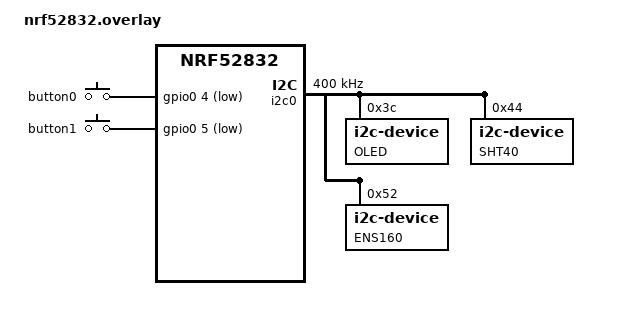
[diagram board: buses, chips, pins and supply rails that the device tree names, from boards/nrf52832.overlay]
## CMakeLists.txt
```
cmake_minimum_required(VERSION 3.20.0)
find_package(Zephyr REQUIRED HINTS $ENV{ZEPHYR_BASE})

project(ess)

target_sources(app PRIVATE src/main.c src/ens160.c src/sht40.c src/oled.c src/gui.c src/gatt.c)
```

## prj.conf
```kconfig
# Increase Main stack size
CONFIG_MAIN_STACK_SIZE=2048

# Increased stack due to settings API usage
CONFIG_SYSTEM_WORKQUEUE_STACK_SIZE=2048

# Existing configurations
CONFIG_BT=y
CONFIG_LOG=y
CONFIG_BT_SMP=y
CONFIG_BT_SIGNING=y
CONFIG_BT_PERIPHERAL=y
CONFIG_BT_DIS=y
CONFIG_BT_ATT_PREPARE_COUNT=5
CONFIG_BT_BAS=y
CONFIG_BT_HRS=y
CONFIG_BT_IAS=y
CONFIG_BT_PRIVACY=y
CONFIG_BT_DEVICE_NAME="Zephyr Peripheral"
CONFIG_BT_DEVICE_APPEARANCE=833
CONFIG_BT_DEVICE_NAME_DYNAMIC=y
CONFIG_BT_DEVICE_NAME_MAX=65

CONFIG_BT_KEYS_OVERWRITE_OLDEST=y
CONFIG_BT_SETTINGS=y
CONFIG_FLASH=y
CONFIG_FLASH_PAGE_LAYOUT=y
CONFIG_FLASH_MAP=y
CONFIG_NVS=y
CONFIG_SETTINGS=y

CONFIG_I2C=y
CONFIG_SENSOR=y
CONFIG_CBPRINTF_FP_SUPPORT=y

CONFIG_PM_DEVICE_RUNTIME=y
```

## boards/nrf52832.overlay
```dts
&pinctrl {
    i2c0_default: i2c0_default {
            group1 {
                    psels = <NRF_PSEL(TWIM_SDA, 0, 11)>,
                            <NRF_PSEL(TWIM_SCL, 0, 12)>;
            };
    };

    i2c0_sleep: i2c0_sleep {
            group1 {
                    psels = <NRF_PSEL(TWIM_SDA, 0, 11)>,
                            <NRF_PSEL(TWIM_SCL, 0, 12)>;
                    low-power-enable;
            };
    };
};

&i2c0 {
    oled: oled@3C{
        compatible = "i2c-device";
        reg = <0x3c>;
        label = "OLED";
        status = "okay";
    };
    sht40: sht40@44{
        compatible = "i2c-device";
        reg = <0x44>;
        label = "SHT40";
        status = "okay";
    };
    ens160: ens160@52{
        compatible = "i2c-device";
        reg = <0x52>;
        label = "ENS160";
        status = "okay";
    };

    clock-frequency = <I2C_BITRATE_FAST>;
};

&button0 {
    gpios = <&gpio0 4 (GPIO_ACTIVE_LOW | GPIO_PULL_UP)>;
};

&button1 {
    gpios = <&gpio0 5 (GPIO_ACTIVE_LOW | GPIO_PULL_UP)>;
};


&uart0_default {
    group1 {
        psels = <NRF_PSEL(UART_TX, 0, 6)>,
                <NRF_PSEL(UART_RX, 0, 8)>,
                <NRF_PSEL(UART_RTS, 0, 1)>,
                <NRF_PSEL(UART_CTS, 0, 7)>;
    };
};
```

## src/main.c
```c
#include <zephyr/kernel.h>
#include <zephyr/device.h>
#include <zephyr/devicetree.h>
#include <zephyr/sys/printk.h>

#include <zephyr/types.h>
#include <stddef.h>
#include <string.h>
#include <errno.h>
#include <stdio.h>
#include <zephyr/sys/printk.h>
#include <zephyr/sys/byteorder.h>

#include <zephyr/settings/settings.h>

#include <zephyr/bluetooth/bluetooth.h>
#include <zephyr/bluetooth/hci.h>
#include <zephyr/bluetooth/conn.h>
#include <zephyr/bluetooth/uuid.h>
#include <zephyr/bluetooth/gatt.h>

#include "sht40.h"
#include "ens160.h"
#include "oled.h"
#include "gui.h"

#define SLEEP_TIME_MS 100
#define STACKSIZE 2048
#define PRIORITY 7
#define PRIORITY_ens160 6

static const struct bt_data ad[] = {
	BT_DATA_BYTES(BT_DATA_FLAGS, (BT_LE_AD_GENERAL | BT_LE_AD_NO_BREDR)),
	BT_DATA_BYTES(BT_DATA_UUID16_ALL, BT_UUID_16_ENCODE(BT_UUID_ESS_VAL)),
};

static void connected(struct bt_conn *conn, uint8_t err)
{
	if (err) {
		printk("Connection failed (err 0x%02x)\n", err);
	} else {
		printk("Connected\n");
	}
}

static void disconnected(struct bt_conn *conn, uint8_t reason)
{
	printk("Disconnected (reason 0x%02x)\n", reason);
}

BT_CONN_CB_DEFINE(conn_callbacks) = {
	.connected = connected,
	.disconnected = disconnected,
};

static void bt_ready(void)
{
	int err;

	printk("Bluetooth initialized\n");

	if (IS_ENABLED(CONFIG_SETTINGS)) {
		settings_load();
	}

	err = bt_le_adv_start(BT_LE_ADV_CONN_NAME, ad, ARRAY_SIZE(ad), NULL, 0);
	if (err) {
		printk("Advertising failed to start (err %d)\n", err);
		return;
	}

	printk("Advertising successfully started\n");
}

static void auth_cancel(struct bt_conn *conn)
{
	char addr[BT_ADDR_LE_STR_LEN];

	bt_addr_le_to_str(bt_conn_get_dst(conn), addr, sizeof(addr));

	printk("Pairing cancelled: %s\n", addr);
}

static struct bt_conn_auth_cb auth_cb_display = {
	.cancel = auth_cancel,
};

void gui_thread(void)
{
	while (1)
	{
		polling_button();
		k_sleep(K_MSEC(SLEEP_TIME_MS));
	}
	
}

int main(void)
{
    int err;

	sht40_init();
	ens160_init();
	button_init();
	OLED_Init();
	OLED_Clear();
	OLED_ColorTurn(0);
    OLED_DisplayTurn(0);
	OLED_ShowString(0,0,"Temper:",8,1);
	OLED_ShowString(52,14,"*C",8,1);
		
	OLED_ShowString(0,26,"Humidity:",8,1);
	OLED_ShowString(55,40,"%",8,1);
	OLED_Refresh();

	err = bt_enable(NULL);
	if (err) {
		printk("Bluetooth init failed (err %d)\n", err);
		return 0;
	}
	bt_ready();
	bt_conn_auth_cb_register(&auth_cb_display);

	return 0;
}

K_THREAD_DEFINE(gui_thread_id, STACKSIZE, gui_thread, NULL, NULL, NULL, PRIORITY, 0, 0);
```

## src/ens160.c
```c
#include "ens160.h"

// ADDR
uint8_t OPMODE_ADDR = 0x10;
uint8_t AIRQ_Index  = 0x21;
uint8_t TVOC_DATA   = 0x22;
uint8_t ECO2_DATA   = 0x24;
// CMD
uint8_t  IDLE_MODE = 0x01;
uint8_t  STANDARD_MODE = 0x02;
uint8_t  DSLEEP_MODE = 0x00;
uint8_t  ENS160_RESET = 0xF0;

#define co2         0
#define tvoc        1
#define airq_index  2

uint8_t str1[50];

#define I2C0_NODE DT_NODELABEL(ens160)
static const struct i2c_dt_spec dev_i2c = I2C_DT_SPEC_GET(I2C0_NODE);

void ens160_init(void)
{
    int ret;
    uint8_t cmd[2] = {OPMODE_ADDR, STANDARD_MODE};   
    if (!device_is_ready(dev_i2c.bus))
    {
        printk("I2C bus %s is not ready!\n\r", dev_i2c.bus->name);
        return;
    }
    
    ret = i2c_write_dt(&dev_i2c, cmd, sizeof(cmd)); 
    if (ret != 0) {
        printk("Failed to set ENS160 to standard mode at address %x\n\r", dev_i2c.addr);
        return;
    }
}

uint16_t ens160_read_data(uint8_t p_type)
{
    uint8_t rawData[2];
    uint16_t result;
    int ret;

    switch (p_type) {
        case 0: i2c_write_dt(&dev_i2c, &ECO2_DATA, sizeof(ECO2_DATA)); break;
        case 1: i2c_write_dt(&dev_i2c, &TVOC_DATA, sizeof(TVOC_DATA)); break;
        case 2: i2c_write_dt(&dev_i2c, &AIRQ_Index, sizeof(AIRQ_Index)); break;
    }

    ret = i2c_read_dt(&dev_i2c, rawData, sizeof(rawData));
    if (ret != 0) {
        printk("Failed to read from I2C device for air index\n");
        return -1;
    }

    result = ((rawData[1] << 8) | rawData[0]);
    return result;
}

void ens160_result(void)
{
    int16_t eco2 = ens160_read_data(co2);
    int16_t tvoc_1 = ens160_read_data(tvoc);
    int16_t tvoc_2 = ens160_read_data(tvoc);
    uint8_t air_q_index = ens160_read_data(airq_index);

    if (tvoc_2 - tvoc_1 < 0)
    {
        OLED_Clear();
        sprintf((char*)str1, "%2d", tvoc_2);
        OLED_ShowString(0, 40, (uint8_t *)str1, 8, 1);
    }
    else
    {
        sprintf((char*)str1, "%3d", tvoc_1);
        OLED_ShowString(0, 40, (uint8_t *)str1, 8, 1);
    }

    sprintf((char*)str1, "%3d", eco2);
    OLED_ShowString(0, 14, (uint8_t *)str1, 8, 1);

    sprintf((char*)str1, "%d", air_q_index);
    OLED_ShowString(55, 40, (uint8_t *)str1, 8, 1);

    OLED_Refresh();
}
```

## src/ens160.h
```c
#ifndef __ENS160_H_
#define __ENS160_H_

#include <zephyr/kernel.h>
#include <zephyr/device.h>
#include <zephyr/devicetree.h>
#include <zephyr/drivers/i2c.h>
#include <zephyr/sys/printk.h>
#include <zephyr/sys/byteorder.h>
#include <zephyr/types.h>

#include <stdint.h>
#include <stdio.h>
#include <stddef.h>
#include <string.h>
#include <errno.h>
#include "stdlib.h"	
#include <stdbool.h>   

#include "oled.h"

void ens160_init(void);
uint16_t ens160_read_data(uint8_t p_type);
void ens160_result(void);

#endif
```

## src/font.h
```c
#ifndef __FONT_H_
#define __FONT_H_

const unsigned char asc2_0806[][6] =
{
{0x00, 0x00, 0x00, 0x00, 0x00, 0x00},// sp
{0x00, 0x00, 0x00, 0x2f, 0x00, 0x00},// !
{0x00, 0x00, 0x07, 0x00, 0x07, 0x00},// "
{0x00, 0x14, 0x7f, 0x14, 0x7f, 0x14},// #
{0x00, 0x24, 0x2a, 0x7f, 0x2a, 0x12},// $
{0x00, 0x62, 0x64, 0x08, 0x13, 0x23},// %
{0x00, 0x36, 0x49, 0x55, 0x22, 0x50},// &
{0x00, 0x00, 0x05, 0x03, 0x00, 0x00},// '
{0x00, 0x00, 0x1c, 0x22, 0x41, 0x00},// (
{0x00, 0x00, 0x41, 0x22, 0x1c, 0x00},// )
{0x00, 0x14, 0x08, 0x3E, 0x08, 0x14},// *
{0x00, 0x08, 0x08, 0x3E, 0x08, 0x08},// +
{0x00, 0x00, 0x00, 0xA0, 0x60, 0x00},// ,
{0x00, 0x08, 0x08, 0x08, 0x08, 0x08},// -
{0x00, 0x00, 0x60, 0x60, 0x00, 0x00},// .
{0x00, 0x20, 0x10, 0x08, 0x04, 0x02},// /
{0x00, 0x3E, 0x51, 0x49, 0x45, 0x3E},// 0
{0x00, 0x00, 0x42, 0x7F, 0x40, 0x00},// 1
{0x00, 0x42, 0x61, 0x51, 0x49, 0x46},// 2
{0x00, 0x21, 0x41, 0x45, 0x4B, 0x31},// 3
{0x00, 0x18, 0x14, 0x12, 0x7F, 0x10},// 4
{0x00, 0x27, 0x45, 0x45, 0x45, 0x39},// 5
{0x00, 0x3C, 0x4A, 0x49, 0x49, 0x30},// 6
{0x00, 0x01, 0x71, 0x09, 0x05, 0x03},// 7
{0x00, 0x36, 0x49, 0x49, 0x49, 0x36},// 8
{0x00, 0x06, 0x49, 0x49, 0x29, 0x1E},// 9
{0x00, 0x00, 0x36, 0x36, 0x00, 0x00},// :
{0x00, 0x00, 0x56, 0x36, 0x00, 0x00},// ;
{0x00, 0x08, 0x14, 0x22, 0x41, 0x00},// <
{0x00, 0x14, 0x14, 0x14, 0x14, 0x14},// =
{0x00, 0x00, 0x41, 0x22, 0x14, 0x08},// >
{0x00, 0x02, 0x01, 0x51, 0x09, 0x06},// ?
{0x00, 0x32, 0x49, 0x59, 0x51, 0x3E},// @
{0x00, 0x7C, 0x12, 0x11, 0x12, 0x7C},// A
{0x00, 0x7F, 0x49, 0x49, 0x49, 0x36},// B
{0x00, 0x3E, 0x41, 0x41, 0x41, 0x22},// C
{0x00, 0x7F, 0x41, 0x41, 0x22, 0x1C},// D
{0x00, 0x7F, 0x49, 0x49, 0x49, 0x41},// E
{0x00, 0x7F, 0x09, 0x09, 0x09, 0x01},// F
{0x00, 0x3E, 0x41, 0x49, 0x49, 0x7A},// G
{0x00, 0x7F, 0x08, 0x08, 0x08, 0x7F},// H
{0x00, 0x00, 0x41, 0x7F, 0x41, 0x00},// I
{0x00, 0x20, 0x40, 0x41, 0x3F, 0x01},// J
{0x00, 0x7F, 0x08, 0x14, 0x22, 0x41},// K
{0x00, 0x7F, 0x40, 0x40, 0x40, 0x40},// L
{0x00, 0x7F, 0x02, 0x0C, 0x02, 0x7F},// M
{0x00, 0x7F, 0x04, 0x08, 0x10, 0x7F},// N
{0x00, 0x3E, 0x41, 0x41, 0x41, 0x3E},// O
{0x00, 0x7F, 0x09, 0x09, 0x09, 0x06},// P
{0x00, 0x3E, 0x41, 0x51, 0x21, 0x5E},// Q
{0x00, 0x7F, 0x09, 0x19, 0x29, 0x46},// R
{0x00, 0x46, 0x49, 0x49, 0x49, 0x31},// S
{0x00, 0x01, 0x01, 0x7F, 0x01, 0x01},// T
{0x00, 0x3F, 0x40, 0x40, 0x40, 0x3F},// U
{0x00, 0x1F, 0x20, 0x40, 0x20, 0x1F},// V
{0x00, 0x3F, 0x40, 0x38, 0x40, 0x3F},// W
{0x00, 0x63, 0x14, 0x08, 0x14, 0x63},// X
{0x00, 0x07, 0x08, 0x70, 0x08, 0x07},// Y
{0x00, 0x61, 0x51, 0x49, 0x45, 0x43},// Z
{0x00, 0x00, 0x7F, 0x41, 0x41, 0x00},// [
{0x00, 0x55, 0x2A, 0x55, 0x2A, 0x55},// 55
{0x00, 0x00, 0x41, 0x41, 0x7F, 0x00},// ]
{0x00, 0x04, 0x02, 0x01, 0x02, 0x04},// ^
{0x00, 0x40, 0x40, 0x40, 0x40, 0x40},// _
{0x00, 0x00, 0x01, 0x02, 0x04, 0x00},// '
{0x00, 0x20, 0x54, 0x54, 0x54, 0x78},// a
{0x00, 0x7F, 0x48, 0x44, 0x44, 0x38},// b
{0x00, 0x38, 0x44, 0x44, 0x44, 0x20},// c
{0x00, 0x38, 0x44, 0x44, 0x48, 0x7F},// d
{0x00, 0x38, 0x54, 0x54, 0x54, 0x18},// e
{0x00, 0x08, 0x7E, 0x09, 0x01, 0x02},// f
{0x00, 0x18, 0xA4, 0xA4, 0xA4, 0x7C},// g
{0x00, 0x7F, 0x08, 0x04, 0x04, 0x78},// h
{0x00, 0x00, 0x44, 0x7D, 0x40, 0x00},// i
{0x00, 0x40, 0x80, 0x84, 0x7D, 0x00},// j
{0x00, 0x7F, 0x10, 0x28, 0x44, 0x00},// k
{0x00, 0x00, 0x41, 0x7F, 0x40, 0x00},// l
{0x00, 0x7C, 0x04, 0x18, 0x04, 0x78},// m
{0x00, 0x7C, 0x08, 0x04, 0x04, 0x78},// n
{0x00, 0x38, 0x44, 0x44, 0x44, 0x38},// o
{0x00, 0xFC, 0x24, 0x24, 0x24, 0x18},// p
{0x00, 0x18, 0x24, 0x24, 0x18, 0xFC},// q
{0x00, 0x7C, 0x08, 0x04, 0x04, 0x08},// r
{0x00, 0x48, 0x54, 0x54, 0x54, 0x20},// s
{0x00, 0x04, 0x3F, 0x44, 0x40, 0x20},// t
{0x00, 0x3C, 0x40, 0x40, 0x20, 0x7C},// u
{0x00, 0x1C, 0x20, 0x40, 0x20, 0x1C},// v
{0x00, 0x3C, 0x40, 0x30, 0x40, 0x3C},// w
{0x00, 0x44, 0x28, 0x10, 0x28, 0x44},// x
{0x00, 0x1C, 0xA0, 0xA0, 0xA0, 0x7C},// y
{0x00, 0x44, 0x64, 0x54, 0x4C, 0x44},// z
{0x14, 0x14, 0x14, 0x14, 0x14, 0x14},// horiz lines
};
//12*12 ASCII
const unsigned char asc2_1206[95][12]={
{0x00,0x00,0x00,0x00,0x00,0x00,0x00,0x00,0x00,0x00,0x00,0x00},/*" ",0*/
{0x00,0x00,0xFC,0x00,0x00,0x00,0x00,0x00,0x02,0x00,0x00,0x00},/*"!",1*/
{0x00,0x0C,0x02,0x0C,0x02,0x00,0x00,0x00,0x00,0x00,0x00,0x00},/*""",2*/
{0x90,0xD0,0xBC,0xD0,0xBC,0x90,0x00,0x03,0x00,0x03,0x00,0x00},/*"#",3*/
{0x18,0x24,0xFE,0x44,0x8C,0x00,0x03,0x02,0x07,0x02,0x01,0x00},/*"$",4*/
{0x18,0x24,0xD8,0xB0,0x4C,0x80,0x00,0x03,0x00,0x01,0x02,0x01},/*"%",5*/
{0xC0,0x38,0xE4,0x38,0xE0,0x00,0x01,0x02,0x02,0x01,0x02,0x02},/*"&",6*/
{0x08,0x06,0x00,0x00,0x00,0x00,0x00,0x00,0x00,0x00,0x00,0x00},/*"'",7*/
{0x00,0x00,0x00,0xF8,0x04,0x02,0x00,0x00,0x00,0x01,0x02,0x04},/*"(",8*/
{0x00,0x02,0x04,0xF8,0x00,0x00,0x00,0x04,0x02,0x01,0x00,0x00},/*")",9*/
{0x90,0x60,0xF8,0x60,0x90,0x00,0x00,0x00,0x01,0x00,0x00,0x00},/*"*",10*/
{0x20,0x20,0xFC,0x20,0x20,0x00,0x00,0x00,0x01,0x00,0x00,0x00},/*"+",11*/
{0x00,0x00,0x00,0x00,0x00,0x00,0x08,0x06,0x00,0x00,0x00,0x00},/*",",12*/
{0x20,0x20,0x20,0x20,0x20,0x00,0x00,0x00,0x00,0x00,0x00,0x00},/*"-",13*/
{0x00,0x00,0x00,0x00,0x00,0x00,0x00,0x02,0x00,0x00,0x00,0x00},/*".",14*/
{0x00,0x80,0x60,0x1C,0x02,0x00,0x04,0x03,0x00,0x00,0x00,0x00},/*"/",15*/
{0xF8,0x04,0x04,0x04,0xF8,0x00,0x01,0x02,0x02,0x02,0x01,0x00},/*"0",16*/
{0x00,0x08,0xFC,0x00,0x00,0x00,0x00,0x02,0x03,0x02,0x00,0x00},/*"1",17*/
{0x18,0x84,0x44,0x24,0x18,0x00,0x03,0x02,0x02,0x02,0x02,0x00},/*"2",18*/
{0x08,0x04,0x24,0x24,0xD8,0x00,0x01,0x02,0x02,0x02,0x01,0x00},/*"3",19*/
{0x40,0xB0,0x88,0xFC,0x80,0x00,0x00,0x00,0x00,0x03,0x02,0x00},/*"4",20*/
{0x3C,0x24,0x24,0x24,0xC4,0x00,0x01,0x02,0x02,0x02,0x01,0x00},/*"5",21*/
{0xF8,0x24,0x24,0x2C,0xC0,0x00,0x01,0x02,0x02,0x02,0x01,0x00},/*"6",22*/
{0x0C,0x04,0xE4,0x1C,0x04,0x00,0x00,0x00,0x03,0x00,0x00,0x00},/*"7",23*/
{0xD8,0x24,0x24,0x24,0xD8,0x00,0x01,0x02,0x02,0x02,0x01,0x00},/*"8",24*/
{0x38,0x44,0x44,0x44,0xF8,0x00,0x00,0x03,0x02,0x02,0x01,0x00},/*"9",25*/
{0x00,0x00,0x10,0x00,0x00,0x00,0x00,0x00,0x02,0x00,0x00,0x00},/*":",26*/
{0x00,0x00,0x20,0x00,0x00,0x00,0x00,0x00,0x06,0x00,0x00,0x00},/*";",27*/
{0x00,0x20,0x50,0x88,0x04,0x02,0x00,0x00,0x00,0x00,0x01,0x02},/*"<",28*/
{0x90,0x90,0x90,0x90,0x90,0x00,0x00,0x00,0x00,0x00,0x00,0x00},/*"=",29*/
{0x00,0x02,0x04,0x88,0x50,0x20,0x00,0x02,0x01,0x00,0x00,0x00},/*">",30*/
{0x18,0x04,0xC4,0x24,0x18,0x00,0x00,0x00,0x02,0x00,0x00,0x00},/*"?",31*/
{0xF8,0x04,0xE4,0x94,0xF8,0x00,0x01,0x02,0x02,0x02,0x02,0x00},/*"@",32*/
{0x00,0xE0,0x9C,0xF0,0x80,0x00,0x02,0x03,0x00,0x00,0x03,0x02},/*"A",33*/
{0x04,0xFC,0x24,0x24,0xD8,0x00,0x02,0x03,0x02,0x02,0x01,0x00},/*"B",34*/
{0xF8,0x04,0x04,0x04,0x0C,0x00,0x01,0x02,0x02,0x02,0x01,0x00},/*"C",35*/
{0x04,0xFC,0x04,0x04,0xF8,0x00,0x02,0x03,0x02,0x02,0x01,0x00},/*"D",36*/
{0x04,0xFC,0x24,0x74,0x0C,0x00,0x02,0x03,0x02,0x02,0x03,0x00},/*"E",37*/
{0x04,0xFC,0x24,0x74,0x0C,0x00,0x02,0x03,0x02,0x00,0x00,0x00},/*"F",38*/
{0xF0,0x08,0x04,0x44,0xCC,0x40,0x00,0x01,0x02,0x02,0x01,0x00},/*"G",39*/
{0x04,0xFC,0x20,0x20,0xFC,0x04,0x02,0x03,0x00,0x00,0x03,0x02},/*"H",40*/
{0x04,0x04,0xFC,0x04,0x04,0x00,0x02,0x02,0x03,0x02,0x02,0x00},/*"I",41*/
{0x00,0x04,0x04,0xFC,0x04,0x04,0x06,0x04,0x04,0x03,0x00,0x00},/*"J",42*/
{0x04,0xFC,0x24,0xD0,0x0C,0x04,0x02,0x03,0x02,0x00,0x03,0x02},/*"K",43*/
{0x04,0xFC,0x04,0x00,0x00,0x00,0x02,0x03,0x02,0x02,0x02,0x03},/*"L",44*/
{0xFC,0x3C,0xC0,0x3C,0xFC,0x00,0x03,0x00,0x03,0x00,0x03,0x00},/*"M",45*/
{0x04,0xFC,0x30,0xC4,0xFC,0x04,0x02,0x03,0x02,0x00,0x03,0x00},/*"N",46*/
{0xF8,0x04,0x04,0x04,0xF8,0x00,0x01,0x02,0x02,0x02,0x01,0x00},/*"O",47*/
{0x04,0xFC,0x24,0x24,0x18,0x00,0x02,0x03,0x02,0x00,0x00,0x00},/*"P",48*/
{0xF8,0x84,0x84,0x04,0xF8,0x00,0x01,0x02,0x02,0x07,0x05,0x00},/*"Q",49*/
{0x04,0xFC,0x24,0x64,0x98,0x00,0x02,0x03,0x02,0x00,0x03,0x02},/*"R",50*/
{0x18,0x24,0x24,0x44,0x8C,0x00,0x03,0x02,0x02,0x02,0x01,0x00},/*"S",51*/
{0x0C,0x04,0xFC,0x04,0x0C,0x00,0x00,0x02,0x03,0x02,0x00,0x00},/*"T",52*/
{0x04,0xFC,0x00,0x00,0xFC,0x04,0x00,0x01,0x02,0x02,0x01,0x00},/*"U",53*/
{0x04,0x7C,0x80,0xE0,0x1C,0x04,0x00,0x00,0x03,0x00,0x00,0x00},/*"V",54*/
{0x1C,0xE0,0x3C,0xE0,0x1C,0x00,0x00,0x03,0x00,0x03,0x00,0x00},/*"W",55*/
{0x04,0x9C,0x60,0x9C,0x04,0x00,0x02,0x03,0x00,0x03,0x02,0x00},/*"X",56*/
{0x04,0x1C,0xE0,0x1C,0x04,0x00,0x00,0x02,0x03,0x02,0x00,0x00},/*"Y",57*/
{0x0C,0x84,0x64,0x1C,0x04,0x00,0x02,0x03,0x02,0x02,0x03,0x00},/*"Z",58*/
{0x00,0x00,0xFE,0x02,0x02,0x00,0x00,0x00,0x07,0x04,0x04,0x00},/*"[",59*/
{0x00,0x0E,0x30,0xC0,0x00,0x00,0x00,0x00,0x00,0x01,0x02,0x00},/*"\",60*/
{0x00,0x02,0x02,0xFE,0x00,0x00,0x00,0x04,0x04,0x07,0x00,0x00},/*"]",61*/
{0x00,0x04,0x02,0x04,0x00,0x00,0x00,0x00,0x00,0x00,0x00,0x00},/*"^",62*/
{0x00,0x00,0x00,0x00,0x00,0x00,0x08,0x08,0x08,0x08,0x08,0x08},/*"_",63*/
{0x00,0x00,0x02,0x00,0x00,0x00,0x00,0x00,0x00,0x00,0x00,0x00},/*"`",64*/
{0x00,0x40,0xA0,0xA0,0xC0,0x00,0x00,0x01,0x02,0x02,0x03,0x02},/*"a",65*/
{0x04,0xFC,0x20,0x20,0xC0,0x00,0x00,0x03,0x02,0x02,0x01,0x00},/*"b",66*/
{0x00,0xC0,0x20,0x20,0x60,0x00,0x00,0x01,0x02,0x02,0x02,0x00},/*"c",67*/
{0x00,0xC0,0x20,0x24,0xFC,0x00,0x00,0x01,0x02,0x02,0x03,0x02},/*"d",68*/
{0x00,0xC0,0xA0,0xA0,0xC0,0x00,0x00,0x01,0x02,0x02,0x02,0x00},/*"e",69*/
{0x00,0x20,0xF8,0x24,0x24,0x04,0x00,0x02,0x03,0x02,0x02,0x00},/*"f",70*/
{0x00,0x40,0xA0,0xA0,0x60,0x20,0x00,0x07,0x0A,0x0A,0x0A,0x04},/*"g",71*/
{0x04,0xFC,0x20,0x20,0xC0,0x00,0x02,0x03,0x02,0x00,0x03,0x02},/*"h",72*/
{0x00,0x20,0xE4,0x00,0x00,0x00,0x00,0x02,0x03,0x02,0x00,0x00},/*"i",73*/
{0x00,0x00,0x20,0xE4,0x00,0x00,0x08,0x08,0x08,0x07,0x00,0x00},/*"j",74*/
{0x04,0xFC,0x80,0xE0,0x20,0x20,0x02,0x03,0x02,0x00,0x03,0x02},/*"k",75*/
{0x04,0x04,0xFC,0x00,0x00,0x00,0x02,0x02,0x03,0x02,0x02,0x00},/*"l",76*/
{0xE0,0x20,0xE0,0x20,0xC0,0x00,0x03,0x00,0x03,0x00,0x03,0x00},/*"m",77*/
{0x20,0xE0,0x20,0x20,0xC0,0x00,0x02,0x03,0x02,0x00,0x03,0x02},/*"n",78*/
{0x00,0xC0,0x20,0x20,0xC0,0x00,0x00,0x01,0x02,0x02,0x01,0x00},/*"o",79*/
{0x20,0xE0,0x20,0x20,0xC0,0x00,0x08,0x0F,0x0A,0x02,0x01,0x00},/*"p",80*/
{0x00,0xC0,0x20,0x20,0xE0,0x00,0x00,0x01,0x02,0x0A,0x0F,0x08},/*"q",81*/
{0x20,0xE0,0x40,0x20,0x20,0x00,0x02,0x03,0x02,0x00,0x00,0x00},/*"r",82*/
{0x00,0x60,0xA0,0xA0,0x20,0x00,0x00,0x02,0x02,0x02,0x03,0x00},/*"s",83*/
{0x00,0x20,0xF8,0x20,0x00,0x00,0x00,0x00,0x01,0x02,0x02,0x00},/*"t",84*/
{0x20,0xE0,0x00,0x20,0xE0,0x00,0x00,0x01,0x02,0x02,0x03,0x02},/*"u",85*/
{0x20,0xE0,0x20,0x80,0x60,0x20,0x00,0x00,0x03,0x01,0x00,0x00},/*"v",86*/
{0x60,0x80,0xE0,0x80,0x60,0x00,0x00,0x03,0x00,0x03,0x00,0x00},/*"w",87*/
{0x20,0x60,0x80,0x60,0x20,0x00,0x02,0x03,0x00,0x03,0x02,0x00},/*"x",88*/
{0x20,0xE0,0x20,0x80,0x60,0x20,0x08,0x08,0x07,0x01,0x00,0x00},/*"y",89*/
{0x00,0x20,0xA0,0x60,0x20,0x00,0x00,0x02,0x03,0x02,0x02,0x00},/*"z",90*/
{0x00,0x00,0x20,0xDE,0x02,0x00,0x00,0x00,0x00,0x07,0x04,0x00},/*"{",91*/
{0x00,0x00,0x00,0xFF,0x00,0x00,0x00,0x00,0x00,0x0F,0x00,0x00},/*"|",92*/
{0x00,0x02,0xDE,0x20,0x00,0x00,0x00,0x04,0x07,0x00,0x00,0x00},/*"}",93*/
{0x02,0x01,0x02,0x04,0x04,0x02,0x00,0x00,0x00,0x00,0x00,0x00},/*"~",94*/
};  

#endif
```

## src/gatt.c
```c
#include "gatt.h"

#define co2         0
#define tvoc        1
#define airq_index  2

static struct bt_uuid_128 uuid_tvoc = BT_UUID_INIT_128(
    BT_UUID_128_ENCODE(0xbef93f88, 0xa801, 0x405b, 0xbc21, 0xc42d39885535));

static struct bt_uuid_128 uuid_airq_index = BT_UUID_INIT_128(
    BT_UUID_128_ENCODE(0xcb11e4df, 0x70d3, 0x4f4d, 0xb5ad, 0x6670a723a3a0));

static struct bt_uuid_128 uuid_co2 = BT_UUID_INIT_128(
    BT_UUID_128_ENCODE(0x1519693d, 0xbb8f, 0x4504, 0xaff1, 0xfe9eccf6f03f));

// Client Characteristic Configuration Notification
static bool ess_notify;
static void ess_ccc_cfg_changed(const struct bt_gatt_attr *attr, uint16_t value)
{
    ess_notify = (value == BT_GATT_CCC_NOTIFY);
}

BT_GATT_SERVICE_DEFINE(ess_svc,
                       BT_GATT_PRIMARY_SERVICE(BT_UUID_ESS),

                       // Temperture
                       BT_GATT_CHARACTERISTIC(BT_UUID_TEMPERATURE, BT_GATT_CHRC_NOTIFY,
                                              BT_GATT_PERM_NONE, NULL, NULL, NULL),
                       BT_GATT_CCC(ess_ccc_cfg_changed,
                                   BT_GATT_PERM_READ | BT_GATT_PERM_WRITE),

                       // Humidity
                       BT_GATT_CHARACTERISTIC(BT_UUID_HUMIDITY, BT_GATT_CHRC_NOTIFY,
                                              BT_GATT_PERM_NONE, NULL, NULL, NULL),
                       BT_GATT_CCC(ess_ccc_cfg_changed,
                                   BT_GATT_PERM_READ | BT_GATT_PERM_WRITE),

                       // CO2
                       BT_GATT_CHARACTERISTIC(&uuid_co2.uuid, BT_GATT_CHRC_NOTIFY,
                                              BT_GATT_PERM_NONE, NULL, NULL, NULL),
                       BT_GATT_CCC(ess_ccc_cfg_changed,
                                   BT_GATT_PERM_READ | BT_GATT_PERM_WRITE),

                       // TVOC
                       BT_GATT_CHARACTERISTIC(&uuid_tvoc.uuid, BT_GATT_CHRC_NOTIFY,
                                              BT_GATT_PERM_NONE, NULL, NULL, NULL),
                       BT_GATT_CCC(ess_ccc_cfg_changed,
                                   BT_GATT_PERM_READ | BT_GATT_PERM_WRITE),

                       // AQI
                       BT_GATT_CHARACTERISTIC(&uuid_airq_index.uuid, BT_GATT_CHRC_NOTIFY,
                                              BT_GATT_PERM_NONE, NULL, NULL, NULL),
                       BT_GATT_CCC(ess_ccc_cfg_changed,
                                   BT_GATT_PERM_READ | BT_GATT_PERM_WRITE), );

void sensors_data_update(void)
{
    if (!ess_notify)
        return;

    int16_t eco2 = ens160_read_data(co2);
    int16_t tvoc_data = ens160_read_data(tvoc);
    uint8_t air_q_index = ens160_read_data(airq_index);
    float Temperature = calculate_temperature();
    float Humidity = calculate_humidity();

    // Ensure the environmental conditions are within the expected range before notifying.
    if ((Temperature >= -20) && (Temperature <= 125) && (Humidity >= 0) && (Humidity <= 100)) {
        int intTemp = (int)(Temperature * 100);
        int intHumidity = (int)(Humidity * 100);

        uint16_t val = sys_cpu_to_le16(intTemp);
        // Notify for temperature. The attribute index for temperature characteristic is [2].
        bt_gatt_notify(NULL, &ess_svc.attrs[2], &val, sizeof(val));
        
        val = sys_cpu_to_le16(intHumidity);
        // Notify for humidity. The attribute index for humidity characteristic is [4].
        bt_gatt_notify(NULL, &ess_svc.attrs[4], &val, sizeof(val));
    }

    uint16_t val_co2 = sys_cpu_to_le16(eco2);
    // Notify for CO2. The attribute index for CO2 characteristic is [6].
    bt_gatt_notify(NULL, &ess_svc.attrs[6], &val_co2, sizeof(val_co2));

    uint16_t val_tvoc = sys_cpu_to_le16(tvoc_data);
    // Notify for TVOC. The attribute index for TVOC characteristic is [8].
    bt_gatt_notify(NULL, &ess_svc.attrs[8], &val_tvoc, sizeof(val_tvoc));

    uint16_t val_airq = sys_cpu_to_le16(air_q_index);
    // Notify for Air Quality Index. The attribute index for Air Quality Index characteristic is [10].
    bt_gatt_notify(NULL, &ess_svc.attrs[10], &val_airq, sizeof(val_airq));
}
```

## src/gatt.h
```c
#ifndef __GATT_H_
#define __GATT_H_

#include <zephyr/kernel.h>
#include <zephyr/device.h>
#include <zephyr/devicetree.h>
#include <zephyr/drivers/i2c.h>
#include <zephyr/sys/printk.h>
#include <zephyr/sys/byteorder.h>
#include <zephyr/types.h>
#include <zephyr/drivers/sensor.h>

#include <stdint.h>
#include <stdio.h>
#include <stddef.h>
#include <string.h>
#include <errno.h>

#include <zephyr/bluetooth/bluetooth.h>
#include <zephyr/bluetooth/hci.h>
#include <zephyr/bluetooth/conn.h>
#include <zephyr/bluetooth/uuid.h>
#include <zephyr/bluetooth/gatt.h>

#include "ens160.h"
#include "sht40.h"

void sensors_data_update(void);

#endif
```

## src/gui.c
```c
#include "gui.h"
#include "sht40.h"
#include "ens160.h"
#include "oled.h"
#include "gatt.h"

#define SLEEP_TIME_MS 100
#define SW0_NODE DT_ALIAS(sw0)
#define SW1_NODE DT_ALIAS(sw1)

bool button0_pressed = false;
bool button1_pressed = false;
bool sht40_flag = true;
bool ens160_flag = false;

static const struct gpio_dt_spec button_0 = GPIO_DT_SPEC_GET(SW0_NODE, gpios);
static const struct gpio_dt_spec button_1 = GPIO_DT_SPEC_GET(SW1_NODE, gpios);

void button_init(void)
{
    int ret;
    if (!device_is_ready(button_0.port))
    {
        return;
    }

    if (!device_is_ready(button_1.port))
    {
        return;
    }

    ret = gpio_pin_configure_dt(&button_0, GPIO_INPUT);
    if (ret < 0)
    {
        return;
    }
    
    ret = gpio_pin_configure_dt(&button_1, GPIO_INPUT);
    if (ret < 0)
    {
        return;
    }
}

void polling_button(void)
{

    bool current_button0_state = gpio_pin_get_dt(&button_0);
    bool current_button1_state = gpio_pin_get_dt(&button_1);

    // Check for button 4 press
    if (current_button0_state && !button0_pressed)
    {
        button0_pressed = true;
        sht40_flag = 1;
        ens160_flag = 0;
        OLED_Clear();
    }
    else if (!current_button0_state)
    {
        button0_pressed = false;
    }

    // Check for button 5 press
    if (current_button1_state && !button1_pressed)
    {
        button1_pressed = true;
        sht40_flag = 0;
        ens160_flag = 1;
        OLED_Clear();
    }
    else if (!current_button1_state)
    {
        button1_pressed = false;
    }

    if (sht40_flag)
    {
        sht40_read_raw_data();
        read_and_display_sht40_data();

        OLED_ShowString(0, 0, "Temper:", 8, 1); 
        OLED_ShowString(52, 14, "*C", 8, 1);    

        OLED_ShowString(0, 26, "Humidity:", 8, 1); 
        OLED_ShowString(55, 40, "%", 8, 1);        
        OLED_Refresh();
    }
    else if (ens160_flag)
    {
        ens160_result();
        OLED_ShowString(0, 0, "CO2:", 8, 1); 
        OLED_ShowString(25, 14, "ppm", 8, 1);

        OLED_ShowString(0, 26, "TVOC:", 8, 1); 
        OLED_ShowString(25, 40, "ppb", 8, 1);  
        OLED_Refresh();
    }
    sensors_data_update();
}
```

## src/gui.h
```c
#ifndef __GUI_H_
#define __GUI_H_

#include <zephyr/kernel.h>
#include <zephyr/device.h>
#include <zephyr/devicetree.h>
#include <zephyr/drivers/gpio.h>

void button_init(void);
void polling_button(void);

#endif
```

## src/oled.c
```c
#include <zephyr/kernel.h>
#include <zephyr/device.h>
#include <zephyr/devicetree.h>
#include <zephyr/drivers/i2c.h>
#include <zephyr/sys/printk.h>
#include <zephyr/sys/byteorder.h>
#include <zephyr/types.h>

#include <stdint.h>
#include <stdio.h>
#include <stddef.h>
#include <string.h>
#include <errno.h>

#include "font.h"
#include "oled.h"

#define I2C0_NODE DT_NODELABEL(oled)
static const struct i2c_dt_spec dev_i2c = I2C_DT_SPEC_GET(I2C0_NODE);

uint8_t OLED_GRAM[80][6];

void OLED_WR_Byte(uint8_t dat,uint8_t mode)
{
    int ret;
    uint8_t command[2];

    command[0] = mode ? 0x40 : 0x00; // Set mode flag
    command[1] = dat; // Set data byte

    ret = i2c_write_dt(&dev_i2c, command, sizeof(command));
    if (ret != 0) {
        printk("Failed to write to I2C device address 0x%x \n", dev_i2c.addr);
        return;
    }
}

void OLED_ColorTurn(uint8_t i)
{
	if(i==0)
		{
			OLED_WR_Byte(0xA6,OLED_CMD);
		}
	if(i==1)
		{
			OLED_WR_Byte(0xA7,OLED_CMD);
		}
}

void OLED_DisplayTurn(uint8_t i)
{
	if(i==0)
		{
			OLED_WR_Byte(0xC8,OLED_CMD);
			OLED_WR_Byte(0xA1,OLED_CMD);
		}
	if(i==1)
		{
			OLED_WR_Byte(0xC0,OLED_CMD);
			OLED_WR_Byte(0xA0,OLED_CMD);
		}
}

void OLED_DisPlay_On(void)
{
	OLED_WR_Byte(0x8D,OLED_CMD);
	OLED_WR_Byte(0x14,OLED_CMD);
	OLED_WR_Byte(0xAF,OLED_CMD);
}

void OLED_Refresh(void)
{
    uint8_t i, n;
    int ret;
    uint8_t buffer[65]; // 1 byte for command + 64 bytes for data

    for (i = 0; i < 6; i++) // Assuming 6 pages
    {
        // Set page address
        OLED_WR_Byte(0xb0 + i, OLED_CMD); // Command to set page start address
        OLED_WR_Byte(0x00, OLED_CMD);     // Command to set lower column start address
        OLED_WR_Byte(0x12, OLED_CMD);     // Command to set higher column start address

        buffer[0] = 0x40; // Data mode command

        // Assuming you only need to send the first 64 bytes of each row for the OLED display
        for (n = 0; n < 64; n++) // Only take the first 64 bytes of each row
        {
            buffer[n + 1] = OLED_GRAM[n][i]; // Copy data from OLED_GRAM into buffer
        }

        // Send the combined data mode command and page data in one I2C transaction
        ret = i2c_write_dt(&dev_i2c, buffer, sizeof(buffer)); // 65 bytes total
        if (ret != 0)
        {
            printk("Failed to write to I2C device at address 0x%x\n", dev_i2c.addr);
            return;
        }
    }
}

void OLED_Clear(void)
{
	uint8_t i,n;
	for(i=0;i<6;i++)
	{
	   for(n=0;n<64;n++)
			{
			 OLED_GRAM[n][i]=0;
			}
  }
	OLED_Refresh();
}
void OLED_DrawPoint(uint8_t x,uint8_t y,uint8_t t)
{
	uint8_t i,m,n;
	i=y/8;
	m=y%8;
	n=1<<m;
	if(t){OLED_GRAM[x][i]|=n;}
	else
	{
		OLED_GRAM[x][i]=~OLED_GRAM[x][i];
		OLED_GRAM[x][i]|=n;
		OLED_GRAM[x][i]=~OLED_GRAM[x][i];
	}
}
void OLED_ShowChar(uint8_t x,uint8_t y,uint8_t chr,uint8_t size1,uint8_t mode)
{
	uint8_t i,m,temp,size2,chr1;
	uint8_t x0=x,y0=y;
	if(size1==8)size2=6;
	else size2=(size1/8+((size1%8)?1:0))*(size1/2);
	chr1=chr-' '; 
	for(i=0;i<size2;i++)
	{
		if(size1==8)
			  {temp=asc2_0806[chr1][i];}
		else if(size1==12)
        {temp=asc2_1206[chr1][i];} 
		else return;
		for(m=0;m<8;m++)
		{
			if(temp&0x01)OLED_DrawPoint(x,y,mode);
			else OLED_DrawPoint(x,y,!mode);
			temp>>=1;
			y++;
		}
		x++;
		if((size1!=8)&&((x-x0)==size1/2))
		{x=x0;y0=y0+8;}
		y=y0;
  }
}

void OLED_ShowString(uint8_t x,uint8_t y,uint8_t *chr,uint8_t size1,uint8_t mode)
{
	while((*chr>=' ')&&(*chr<='~'))
	{
		OLED_ShowChar(x,y,*chr,size1,mode);
		if(size1==8)x+=6;
		else x+=size1/2;
		chr++;
  }
}

void OLED_Init(void)
{		
	OLED_WR_Byte(0xAE,OLED_CMD); /*display off*/
	OLED_WR_Byte(0x00,OLED_CMD); /*set lower column address*/ 
    OLED_WR_Byte(0x12,OLED_CMD); /*set higher column address*/
	OLED_WR_Byte(0x40,OLED_CMD); /*set display start line*/ 
	OLED_WR_Byte(0xB0,OLED_CMD); /*set page address*/ 
	OLED_WR_Byte(0x81,OLED_CMD); /*contract control*/ 
	OLED_WR_Byte(0x7f,OLED_CMD); /*128*/ 
	OLED_WR_Byte(0xA1,OLED_CMD); /*set segment remap*/ 
	OLED_WR_Byte(0xA6,OLED_CMD); /*normal / reverse*/ 
	OLED_WR_Byte(0xA8,OLED_CMD); /*multiplex ratio*/ 
	OLED_WR_Byte(0x2F,OLED_CMD); /*duty = 1/48*/ 
	OLED_WR_Byte(0xC8,OLED_CMD); /*Com scan direction*/ 
	OLED_WR_Byte(0xD3,OLED_CMD); /*set display offset*/ 
	OLED_WR_Byte(0x00,OLED_CMD); 
	OLED_WR_Byte(0xD5,OLED_CMD); /*set osc division*/ 
	OLED_WR_Byte(0x80,OLED_CMD); 
	OLED_WR_Byte(0xD9,OLED_CMD); /*set pre-charge period*/ 
	OLED_WR_Byte(0x21,OLED_CMD); 
	OLED_WR_Byte(0xDA,OLED_CMD); /*set COM pins*/ 
	OLED_WR_Byte(0x12,OLED_CMD); 
	OLED_WR_Byte(0xdb,OLED_CMD); /*set vcomh*/ 
	OLED_WR_Byte(0x40,OLED_CMD); 
	OLED_WR_Byte(0x8d,OLED_CMD); /*set charge pump enable*/ 
	OLED_WR_Byte(0x14,OLED_CMD);
	OLED_Clear();
	OLED_WR_Byte(0xAF,OLED_CMD); /*display ON*/ 

}
```

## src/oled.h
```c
#ifndef __OLED_H_
#define __OLED_H_

#include "stdlib.h"	
#include <string.h>
#include <stdbool.h>   
#include <stdint.h>

#define OLED_CMD  0	
#define OLED_DATA 1	

void OLED_ColorTurn(uint8_t i);
void OLED_DisplayTurn(uint8_t i);
void OLED_WR_Byte(uint8_t dat,uint8_t mode);
void OLED_DisPlay_On(void);
void OLED_Refresh(void);
void OLED_Clear(void);
void OLED_DrawPoint(uint8_t x,uint8_t y,uint8_t t);
void OLED_ShowChar(uint8_t x,uint8_t y,uint8_t chr,uint8_t size1,uint8_t mode);
void OLED_ShowString(uint8_t x,uint8_t y,uint8_t *chr,uint8_t size1,uint8_t mode);
void OLED_Init(void);

#endif
```

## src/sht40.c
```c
#include "sht40.h"

uint8_t SHT4X_CMD_MEASURE_HPM = 0xFD;
uint8_t SHT4X_CMD_MEASURE_LPM = 0xE0;
uint8_t SHT40_REST = 0X94;

#define I2C0_NODE DT_NODELABEL(sht40)
static const struct i2c_dt_spec dev_i2c = I2C_DT_SPEC_GET(I2C0_NODE);

uint8_t rawData[6];
uint8_t str[50];

void sht40_init(void)
{
    int ret;
    if (!device_is_ready(dev_i2c.bus))
    {
        printk("I2C bus %s is not ready!\n\r", dev_i2c.bus->name);
        return;
    }

    ret = i2c_write_dt(&dev_i2c, &SHT40_REST, sizeof(SHT40_REST));
    if (ret != 0)
    {
        printk("Failed to write to I2C device address %x \n\r", dev_i2c.addr);
        return;
    }
    k_sleep(K_MSEC(20));

    ret = i2c_write_dt(&dev_i2c, &SHT4X_CMD_MEASURE_HPM, sizeof(SHT4X_CMD_MEASURE_HPM));
    if (ret != 0)
    {
        printk("Failed to write to I2C device address %x \n\r", dev_i2c.addr);
        return;
    }
    k_sleep(K_MSEC(20));
}

void sht40_read_raw_data(void)
{
    int ret;
    ret = i2c_write_dt(&dev_i2c, &SHT4X_CMD_MEASURE_HPM, sizeof(SHT4X_CMD_MEASURE_HPM));
    if (ret != 0)
    {
        printk("Failed to write to I2C device address %x \n\r", dev_i2c.addr);
        return;
    }
    k_sleep(K_MSEC(20));

    ret = i2c_read_dt(&dev_i2c, rawData, sizeof(rawData));
    if (ret != 0)
    {
        printk("Failed to read from I2C device");
        return; 
    }
}

float calculate_temperature(void)
{
    uint16_t temp = ((rawData[0] << 8) | rawData[1]);
    float temperature = (175.0 * (float)temp / 65535.0 - 45.0);
    return temperature;
}

float calculate_humidity(void)
{
    uint16_t humid = ((rawData[3] << 8) | rawData[4]);
    float humidity = (125.0 * (float)humid / 65535.0 - 6.0);
    return humidity;
}

void read_and_display_sht40_data(void)
{
    float Temperature = calculate_temperature();
    float Humidity = calculate_humidity();

    if ((Temperature >= -20) && (Temperature <= 125) && (Humidity >= 0) && (Humidity <= 100))
    {
        sprintf(str, "%.2f", Temperature);
        OLED_ShowString(20, 14, (uint8_t *)str, 8, 1);

        sprintf(str, "%.2f", Humidity);
        OLED_ShowString(20, 40, (uint8_t *)str, 8, 1);
        OLED_Refresh();
    }
}
```

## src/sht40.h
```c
#ifndef __SHT40_H_
#define __SHT40_H_

#include <zephyr/kernel.h>
#include <zephyr/device.h>
#include <zephyr/devicetree.h>
#include <zephyr/drivers/i2c.h>
#include <zephyr/sys/printk.h>
#include <zephyr/sys/byteorder.h>
#include <zephyr/types.h>

#include <stdint.h>
#include <stdio.h>
#include <stddef.h>
#include <string.h>
#include <errno.h>
#include "stdlib.h"	
#include <stdbool.h>   

#include "oled.h"

void sht40_init(void);
void sht40_read_raw_data(void);
float calculate_temperature(void);
float calculate_humidity(void);
void read_and_display_sht40_data(void);

#endif
```
